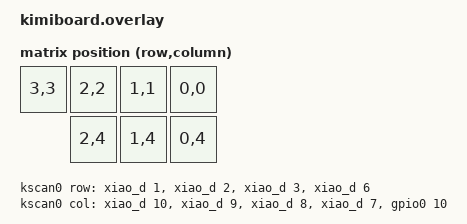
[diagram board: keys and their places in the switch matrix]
#include <dt-bindings/zmk/matrix_transform.h>
#include <physical_layouts.dtsi>

/ {
    chosen {
        zmk,physical-layout = &physical_layout0;
    };

    physical_layout0: physical_layout_0 {
        compatible = "zmk,physical-layout";
        display-name = "Default Layout";
        kscan = <&kscan0>;
        transform = <&default_transform>;

    keys = 
            // w  h   x   y   rot rx ry
             <&key_physical_attrs  50  100   0  0    0  0  0>   // SW1(リセット用ボタン)
            , <&key_physical_attrs 100 100 120  0    0  0  0>   // SW2(上段左ボタン)
            , <&key_physical_attrs 100 100 240  0    0  0  0>   // SW3(上段中央ボタン)
            , <&key_physical_attrs 100 100 360  0    0  0  0>   // SW4(上段右ボタン)
            , <&key_physical_attrs 100 100 120  100  0  0  0>   // SW2(下段左ボタン)
            , <&key_physical_attrs 100 100 240  100  0  0  0>   // SW2(下段中央ボタン)
            , <&key_physical_attrs 100 100 360  100  0  0  0>   // SW2(下段右ボタン)
            ;
    };

    default_transform: keymap_transform0 {
        compatible = "zmk,matrix-transform";
        rows = <4>;
        columns = <5>;
        map = <
        RC(3,3) RC(2,2) RC(1,1) RC(0,0)    // SW1〜SW4(1はリセット用スイッチ)
                RC(2,4) RC(1,4) RC(0,4)    // SW5〜SW7
        >;
    };

    kscan0: kscan0 {
        compatible = "zmk,kscan-gpio-matrix";
        diode-direction = "col2row";
        col-gpios
            = <&xiao_d 10 GPIO_ACTIVE_HIGH>
            , <&xiao_d 9 GPIO_ACTIVE_HIGH>
            , <&xiao_d 8 GPIO_ACTIVE_HIGH>
            , <&xiao_d 7 GPIO_ACTIVE_HIGH>
            , <&gpio0 10 GPIO_ACTIVE_HIGH>
        ;
        row-gpios
                = <&xiao_d 1 (GPIO_ACTIVE_HIGH | GPIO_PULL_DOWN)>
                , <&xiao_d 2 (GPIO_ACTIVE_HIGH | GPIO_PULL_DOWN)>
                , <&xiao_d 3 (GPIO_ACTIVE_HIGH | GPIO_PULL_DOWN)>
                , <&xiao_d 6 (GPIO_ACTIVE_HIGH | GPIO_PULL_DOWN)>
                ;
    };
};

/ {
  trackball_listener {
    compatible = "zmk,input-listener";
    device = <&trackball>;

  };
};

&pinctrl {
    spi0_default: spi0_default {
        group1 {
            psels = <NRF_PSEL(SPIM_SCK, 0, 5)>,
                <NRF_PSEL(SPIM_MOSI, 0, 4)>,
                <NRF_PSEL(SPIM_MISO, 0, 4)>;
        };
    };

    spi0_sleep: spi0_sleep {
        group1 {
            psels = <NRF_PSEL(SPIM_SCK, 0, 5)>,
                <NRF_PSEL(SPIM_MOSI, 0, 4)>,
                <NRF_PSEL(SPIM_MISO, 0, 4)>;
            low-power-enable;
        };
    };
};

&spi0 {
    status = "okay";
    compatible = "nordic,nrf-spim";
    pinctrl-0 = <&spi0_default>;
    pinctrl-1 = <&spi0_sleep>;
    pinctrl-names = "default", "sleep";
    cs-gpios = <&gpio0 9 GPIO_ACTIVE_LOW>;

    trackball: trackball@0 {
        status = "okay";
        compatible = "pixart,pmw3610";
        reg = <0>;
        spi-max-frequency = <2000000>;
        irq-gpios = <&gpio0 2 (GPIO_ACTIVE_LOW | GPIO_PULL_UP)>;
    };
};

/ {
    chosen {
        zmk,physical-layout = &physical_layout0;
    };

    behaviors {
        tb_rotate: tb_rotate_behavior {
            compatible = "zmk,behavior-tb-rotate";
            button_idx = <0>; // SW1で回転切替
        };
    };

    physical_layout0: physical_layout_0 {
        compatible = "zmk,physical-layout";
        display-name = "KimiBoard Layout";
        kscan = <&kscan0>;
        transform = <&default_transform>;

        keys =
             <&key_physical_attrs  50 100 0   0 0 0 0>   // SW1(回転切替)
            ,<&key_physical_attrs 100 100 120 0 0 0 0>   // SW2
            ,<&key_physical_attrs 100 100 240 0 0 0 0>   // SW3
            ,<&key_physical_attrs 100 100 360 0 0 0 0>   // SW4
            ;
    };
};

